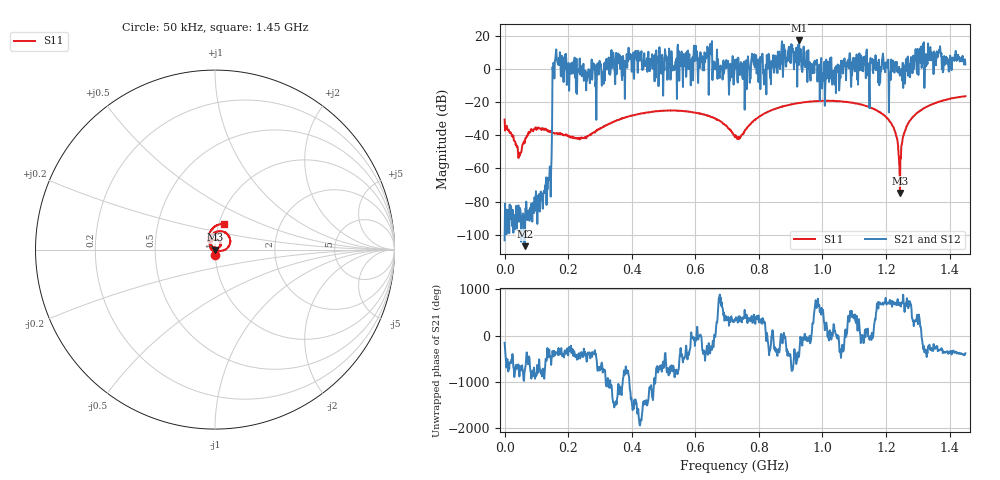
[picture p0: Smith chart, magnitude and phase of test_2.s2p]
! Created with skrf 1.11.0 (http://scikit-rf.org).
# Hz S RI R 50.0
!freq ReS11 ImS11 ReS21 ImS21 ReS12 ImS12 ReS22 ImS22
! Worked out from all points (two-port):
!   1001 points, 50 kHz to 1.45 GHz, reference 50 ohm
!   highest |S21| = 17.35 dB at 926.6 MHz (marker M1); lowest = -107.0 dB at 63.85 MHz (marker M2)
!   |S21| within 3 dB of the highest: 544.9586 MHz to 545.2943 MHz (335.7 kHz wide, 0.0616 % of centre); 646.4793 MHz to 646.9454 MHz (466.1 kHz wide, 0.0721 % of centre) (the widest 2 of 13)
!   lowest |S11| = -74.8 dB at 1.244 GHz (marker M3), VSWR 1.00, Z = 50 + j0.0148 ohm
!   |S11| at or under -10 dB: start of sweep to end of sweep
!   |S22| runs from - to - dB; largest |S21 - S12| = 0
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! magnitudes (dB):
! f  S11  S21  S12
! 50 kHz  -30.5  -103.5  -103.5
! 45 MHz  -52.8  -92.2  -92.2
! 63.85 MHz  -44.3  -107.0  -107.0
! 113.1 MHz  -35.9  -74.1  -74.1
! 139.2 MHz  -37.2  -65.7  -65.7
! 158.1 MHz  -39.0  4.6  4.6
! 242.2 MHz  -41.8  -3.3  -3.3
! 484.3 MHz  -25.3  -10.3  -10.3
! 535.1 MHz  -25.0  -0.3  -0.3
! 645.3 MHz  -28.5  10.1  10.1
! 680.1 MHz  -31.7  2.2  2.2
! 725 MHz  -41.1  5.6  5.6
! 754 MHz  -38.2  4.7  4.7
! 784.5 MHz  -31.1  2.7  2.7
! 820.7 MHz  -26.5  -3.5  -3.5
! 926.6 MHz  -20.4  17.4  17.4
! 967.2 MHz  -19.5  2.8  2.8
! 1.209 GHz  -30.8  -26.1  -26.1
! 1.244 GHz  -74.8  -4.0  -4.0
! 1.262 GHz  -36.8  0.5  0.5
! 1.293 GHz  -27.2  12.2  12.2
! 1.45 GHz  -16.4  2.8  2.8
